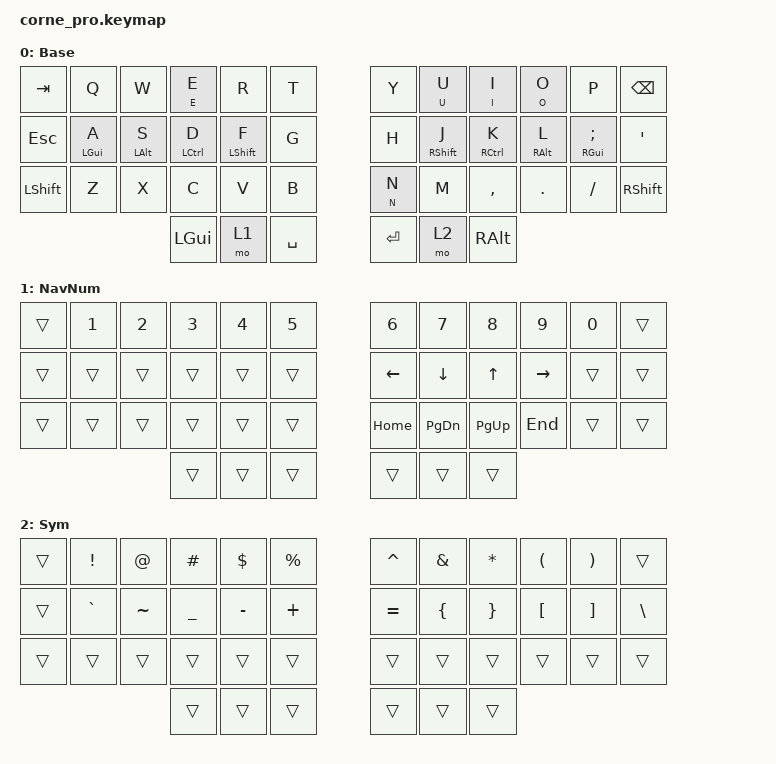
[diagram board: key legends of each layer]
/*
 * Author: Franco Limón (Optimized by Antigravity)
 * Teclado Corne - Configuración "Pro" para Programación en Español (macOS US Layout)
 * 
 * Principios de diseño:
 * 1. Home Row Mods: Modificadores en la fila central para menor movimiento.
 * 2. Capas optimizadas: Símbolos de programación agrupados lógicamente.
 * 3. Combos: Acceso rápido a teclas comunes (Esc, Enter, Tab).
 * 4. Macros de acentos: Mantenidos para compatibilidad con macOS US Layout.
 */

#include <behaviors.dtsi>
#include <dt-bindings/zmk/keys.h>
#include <dt-bindings/zmk/bt.h>
#include <dt-bindings/zmk/outputs.h>
#include <dt-bindings/zmk/ext_power.h>
#include <dt-bindings/led/led.h>
#include <dt-bindings/zmk/backlight.h>
#include <dt-bindings/zmk/rgb.h>
#include <dt-bindings/zmk/reset.h>

&led_strip {
    chain-length = <27>;
};

/ {
    macros {
        // --- Macros de Acentos y Ñ (macOS US Layout: Option+Letter) ---
        
        // Ñ: Option+n, n
        enye: enye {
            compatible = "zmk,behavior-macro";
            #binding-cells = <0>;
            wait-ms = <20>;
            tap-ms = <20>;
            bindings = <&macro_press &kp LALT>, <&macro_tap &kp N>, <&macro_release &kp LALT>, <&macro_tap &kp N>;
        };

        // Á: Option+e, a
        a_acute: a_acute {
            compatible = "zmk,behavior-macro";
            #binding-cells = <0>;
            wait-ms = <20>;
            tap-ms = <20>;
            bindings = <&macro_press &kp LALT>, <&macro_tap &kp E>, <&macro_release &kp LALT>, <&macro_tap &kp A>;
        };

        // É: Option+e, e
        e_acute: e_acute {
            compatible = "zmk,behavior-macro";
            #binding-cells = <0>;
            wait-ms = <20>;
            tap-ms = <20>;
            bindings = <&macro_press &kp LALT>, <&macro_tap &kp E>, <&macro_release &kp LALT>, <&macro_tap &kp E>;
        };

        // Í: Option+e, i
        i_acute: i_acute {
            compatible = "zmk,behavior-macro";
            #binding-cells = <0>;
            wait-ms = <20>;
            tap-ms = <20>;
            bindings = <&macro_press &kp LALT>, <&macro_tap &kp E>, <&macro_release &kp LALT>, <&macro_tap &kp I>;
        };

        // Ó: Option+e, o
        o_acute: o_acute {
            compatible = "zmk,behavior-macro";
            #binding-cells = <0>;
            wait-ms = <20>;
            tap-ms = <20>;
            bindings = <&macro_press &kp LALT>, <&macro_tap &kp E>, <&macro_release &kp LALT>, <&macro_tap &kp O>;
        };

        // Ú: Option+e, u
        u_acute: u_acute {
            compatible = "zmk,behavior-macro";
            #binding-cells = <0>;
            wait-ms = <20>;
            tap-ms = <20>;
            bindings = <&macro_press &kp LALT>, <&macro_tap &kp E>, <&macro_release &kp LALT>, <&macro_tap &kp U>;
        };
        
        // --- Macros de Utilidad ---
        
        // Screenshot: Cmd+Shift+4
        cmd_shift_4: cmd_shift_4 {
            compatible = "zmk,behavior-macro";
            #binding-cells = <0>;
            bindings = <&macro_press &kp LGUI &kp LSHIFT>, <&macro_tap &kp N4>, <&macro_release &kp LGUI &kp LSHIFT>;
        };
        
        // Force Quit: Option+Cmd+Esc
        opt_cmd_esc: opt_cmd_esc {
            compatible = "zmk,behavior-macro";
            #binding-cells = <0>;
            bindings = <&macro_press &kp LALT &kp LGUI>, <&macro_tap &kp ESC>, <&macro_release &kp LALT &kp LGUI>;
        };
        
        // Spotlight: Cmd+Space
        spotlight: spotlight {
            compatible = "zmk,behavior-macro";
            #binding-cells = <0>;
            bindings = <&macro_press &kp LGUI>, <&macro_tap &kp SPACE>, <&macro_release &kp LGUI>;
        };
    };

    behaviors {
        // --- Home Row Mods ---
        // Hold para modificador, Tap para tecla normal.
        // Tapping term de 200ms es estándar, ajusta si disparas mods accidentalmente.
        hm: homerow_mods {
            compatible = "zmk,behavior-hold-tap";
            #binding-cells = <2>;
            flavor = "tap-preferred";
            tapping-term-ms = <200>;
            quick-tap-ms = <0>;
            require-prior-idle-ms = <125>; // Ayuda a evitar disparos accidentales al escribir rápido
            bindings = <&kp>, <&kp>;
        };

        // --- Tap Dance para Ñ ---
        // Tap: ñ, Double Tap: Ñ (Shift+ñ)
        // Nota: Para Ñ mayúscula con macro, necesitaríamos otro macro. 
        // Por simplicidad, aquí dejamos solo ñ. Si necesitas Ñ, usa Shift + ñ (que activará el macro con shift presionado? No, macros son complejos con shift).
        // Mejor solución simple: Hold para Ñ mayúscula?
        // Por ahora: Tap = ñ, Hold = Layer 2 (opcional) o nada.
        
        // --- Mod-Morph para Accentos ---
        // Esto permite que si presionas Shift + Letra, salga el acento mayúscula? 
        // Los macros actuales no manejan Shift.
        // Para programación rápida, asumiremos minúsculas.
        
        // --- Hold-Taps para Vocales (Acentos) ---
        // Mantenemos tu lógica de hold para acento, pero optimizada.
        ht_a: ht_a {
            compatible = "zmk,behavior-hold-tap";
            #binding-cells = <2>;
            flavor = "tap-preferred";
            tapping-term-ms = <180>; // Un poco más lento para evitar falsos positivos
            bindings = <&a_acute>, <&kp>;
        };
        ht_e: ht_e { compatible = "zmk,behavior-hold-tap"; #binding-cells = <2>; flavor = "tap-preferred"; tapping-term-ms = <180>; bindings = <&e_acute>, <&kp>; };
        ht_i: ht_i { compatible = "zmk,behavior-hold-tap"; #binding-cells = <2>; flavor = "tap-preferred"; tapping-term-ms = <180>; bindings = <&i_acute>, <&kp>; };
        ht_o: ht_o { compatible = "zmk,behavior-hold-tap"; #binding-cells = <2>; flavor = "tap-preferred"; tapping-term-ms = <180>; bindings = <&o_acute>, <&kp>; };
        ht_u: ht_u { compatible = "zmk,behavior-hold-tap"; #binding-cells = <2>; flavor = "tap-preferred"; tapping-term-ms = <180>; bindings = <&u_acute>, <&kp>; };
        
        // Hold para Ñ
        ht_n: ht_n {
            compatible = "zmk,behavior-hold-tap";
            #binding-cells = <2>;
            flavor = "tap-preferred";
            tapping-term-ms = <180>;
            bindings = <&enye>, <&kp>;
        };
    };

    combos {
        compatible = "zmk,combos";
        
        // Combo ESC (Q+W)
        combo_esc {
            timeout-ms = <50>;
            key-positions = <1 2>; // Q W
            bindings = <&kp ESC>;
        };
        
        // Combo TAB (A+S) - Opcional, ya tienes TAB en capa base
        // combo_tab { timeout-ms = <50>; key-positions = <13 14>; bindings = <&kp TAB>; };
        
        // Combo ENTER (K+L) - Muy útil para no mover el pulgar
        combo_enter {
            timeout-ms = <50>;
            key-positions = <20 21>; // K L
            bindings = <&kp ENTER>;
        };
        
        // Combo BACKSPACE (O+P)
        combo_bspc {
            timeout-ms = <50>;
            key-positions = <9 10>; // O P
            bindings = <&kp BACKSPACE>;
        };
        
        // Combo CAPSLOCK (Shift Izq + Shift Der) - Opcional
    };

    keymap {
        compatible = "zmk,keymap";

        /*
         * BASE LAYER (0)
         * QWERTY con Home Row Mods y Acentos en Hold
         * 
         * ,--------------------------------------------------.           ,--------------------------------------------------.
         * |  TAB   |   Q    |   W    |   E    |   R    |   T    |           |   Y    |   U    |   I    |   O    |   P    |  BSPC  |
         * |--------+--------+--------+--------+--------+--------|           |--------+--------+--------+--------+--------+--------|
         * |  ESC   | A/GUI  | S/ALT  | D/CTRL | F/SFT  |   G    |           |   H    | J/SFT  | K/CTRL | L/ALT  | ;/GUI  |   '    |
         * |--------+--------+--------+--------+--------+--------|           |--------+--------+--------+--------+--------+--------|
         * | LSHIFT |   Z    |   X    |   C    |   V    |   B    |           |   N    |   M    |   ,    |   .    |   /    | RSHIFT |
         * `--------+--------+--------+--------+--------+--------'           `--------+--------+--------+--------+--------+--------'
         *                   |  GUI   |  LWR   |  SPC   |                       |  ENT   |  RSE   |  ALT   |
         *                   `--------------------------'                       `--------------------------'
         */
        default_layer {
            display-name = "Base";
            bindings = <
                &kp TAB        &kp Q         &kp W         &ht_e E E     &kp R         &kp T             &kp Y         &ht_u U U     &ht_i I I     &ht_o O O     &kp P         &kp BSPC
                &kp ESC        &hm LGUI A    &hm LALT S    &hm LCTRL D   &hm LSHIFT F  &kp G             &kp H         &hm RSHIFT J  &hm RCTRL K   &hm RALT L    &hm RGUI SEMI &kp SQT
                &kp LSHIFT     &kp Z         &kp X         &kp C         &kp V         &kp B             &ht_n N N     &kp M         &kp COMMA     &kp DOT       &kp FSLH      &kp RSHIFT
                                            &kp LGUI      &mo 1         &kp SPACE         &kp ENTER     &mo 2         &kp RALT
            >;
        };

        /*
         * LOWER LAYER (1) - Navegación, Números y Medios
         * 
         * ,--------------------------------------------------.           ,--------------------------------------------------.
         * |        |   1    |   2    |   3    |   4    |   5    |           |   6    |   7    |   8    |   9    |   0    |        |
         * |--------+--------+--------+--------+--------+--------|           |--------+--------+--------+--------+--------+--------|
         * |        |        |        |        |        |        |           |  LEFT  |  DOWN  |   UP   |  RIGHT |        |        |
         * |--------+--------+--------+--------+--------+--------|           |--------+--------+--------+--------+--------+--------|
         * |        |        |        |        |        |        |           |  HOME  |  PGDN  |  PGUP  |  END   |        |        |
         * `--------+--------+--------+--------+--------+--------'           `--------+--------+--------+--------+--------+--------'
         *                   |        |        |        |                       |        |        |        |
         *                   `--------------------------'                       `--------------------------'
         */
        lower_layer {
            display-name = "NavNum";
            bindings = <
                &trans     &kp N1       &kp N2       &kp N3       &kp N4       &kp N5          &kp N6    &kp N7    &kp N8    &kp N9    &kp N0    &trans
                &trans     &trans       &trans       &trans       &trans       &trans          &kp LEFT  &kp DOWN  &kp UP    &kp RIGHT &trans    &trans
                &trans     &trans       &trans       &trans       &trans       &trans          &kp HOME  &kp PG_DN &kp PG_UP &kp END   &trans    &trans
                                        &trans       &trans       &trans          &trans    &trans    &trans
            >;
        };

        /*
         * RAISE LAYER (2) - Símbolos para Programación
         * Optimizada para fácil acceso a pares: () [] {}
         * 
         * ,--------------------------------------------------.           ,--------------------------------------------------.
         * |        |   !    |   @    |   #    |   $    |   %    |           |   ^    |   &    |   *    |   (    |   )    |        |
         * |--------+--------+--------+--------+--------+--------|           |--------+--------+--------+--------+--------+--------|
         * |        |   `    |   ~    |   _    |   -    |   +    |           |   =    |   {    |   }    |   [    |   ]    |   \    |
         * |--------+--------+--------+--------+--------+--------|           |--------+--------+--------+--------+--------+--------|
         * |        |        |        |        |        |        |           |        |        |        |        |        |        |
         * `--------+--------+--------+--------+--------+--------'           `--------+--------+--------+--------+--------+--------'
         *                   |        |        |        |                       |        |        |        |
         *                   `--------------------------'                       `--------------------------'
         */
        raise_layer {
            display-name = "Sym";
            bindings = <
                &trans     &kp EXCL     &kp AT       &kp HASH     &kp DLLR     &kp PRCNT       &kp CARET &kp AMPS  &kp STAR  &kp LPAR  &kp RPAR  &trans
                &trans     &kp GRAVE    &kp TILDE    &kp UNDER    &kp MINUS    &kp PLUS        &kp EQUAL &kp LBRC  &kp RBRC  &kp LBKT  &kp RBKT  &kp BSLH
                &trans     &trans       &trans       &trans       &trans       &trans          &trans    &trans    &trans    &trans    &trans    &trans
                                        &trans       &trans       &trans          &trans    &trans    &trans
            >;
        };
        
        /*
         * ADJUST LAYER (3) - Configuración (Bluetooth, etc)
         * Se activa presionando ambos pulgares de capa (LWR + RSE)
         */
    };
};
